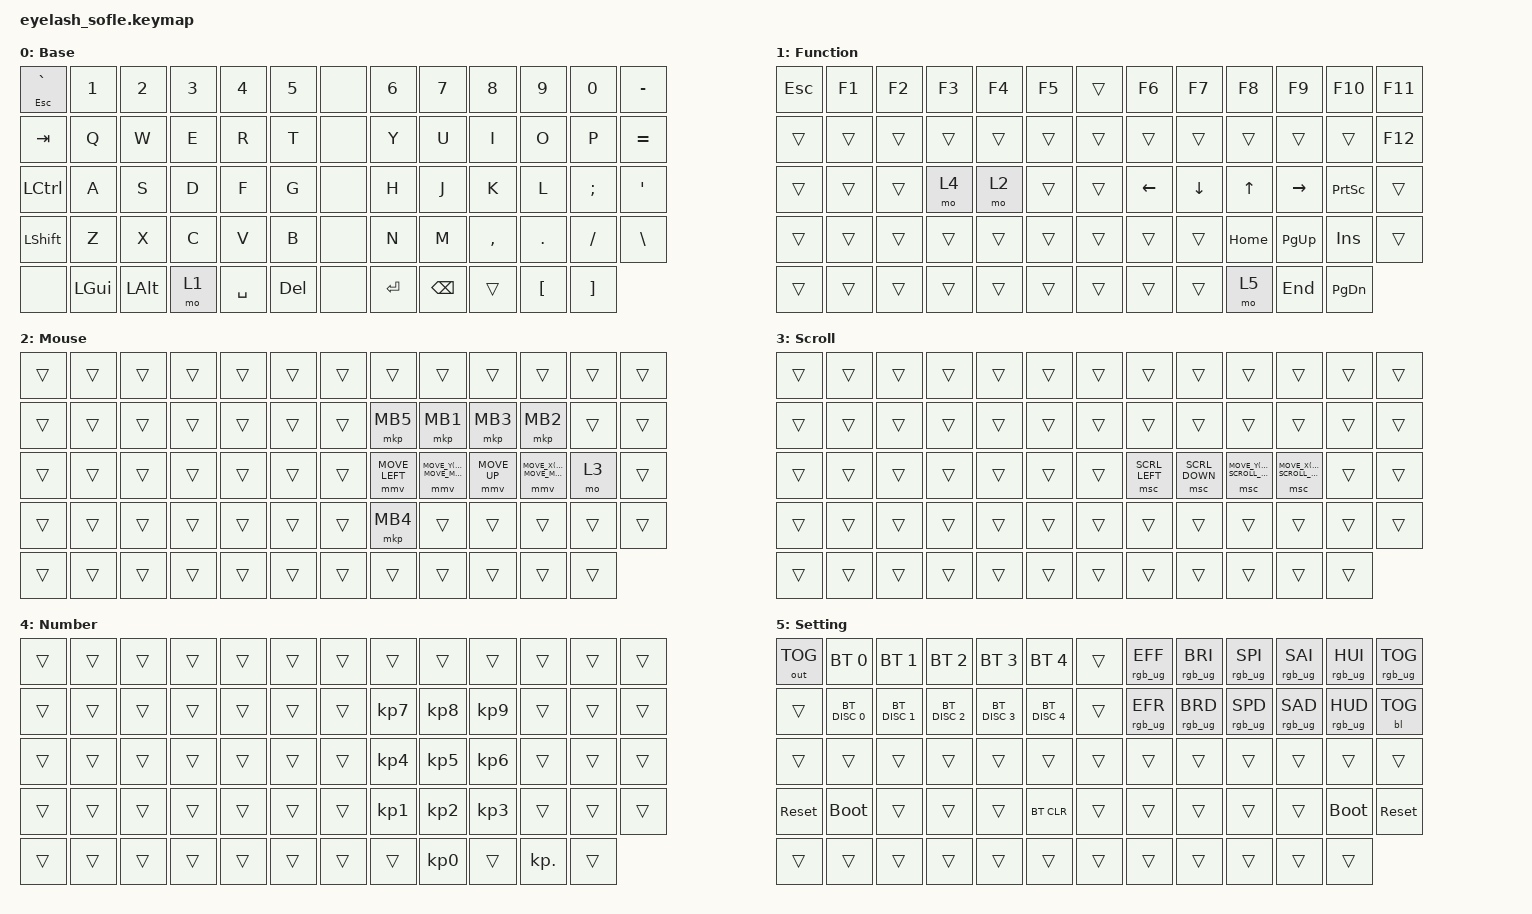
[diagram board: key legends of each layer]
#define ZMK_POINTING_DEFAULT_MOVE_VAL 1200  // 600
#define ZMK_POINTING_DEFAULT_SCRL_VAL 25   // 10

#include <input/processors.dtsi>
#include <zephyr/dt-bindings/input/input-event-codes.h>
#include <behaviors.dtsi>
#include <dt-bindings/zmk/backlight.h>
#include <dt-bindings/zmk/bt.h>
#include <dt-bindings/zmk/keys.h>
#include <dt-bindings/zmk/outputs.h>
#include <dt-bindings/zmk/pointing.h>
#include <dt-bindings/zmk/rgb.h>

#define MOUSE_TIME_TO_MAX_SPEED 300
#define U_MOUSE_MOVE_MAX 1200

#undef MOVE_UP
#undef MOVE_DOWN
#undef MOVE_LEFT
#undef MOVE_RIGHT

#define MOVE_UP MOVE_Y(-U_MOUSE_MOVE_MAX)
#define MOVE_DOWN MOVE_Y(U_MOUSE_MOVE_MAX)
#define MOVE_LEFT MOVE_X(-U_MOUSE_MOVE_MAX)
#define MOVE_RIGHT MOVE_X(U_MOUSE_MOVE_MAX)

&mmv_input_listener { input-processors = <&zip_xy_scaler 2 1>; };

&mmv {
    acceleration-exponent = <1>;
    time-to-max-speed-ms = <MOUSE_TIME_TO_MAX_SPEED>;
};

#define U_MOUSE_SCROLL_MAX 30

#undef SCRL_UP
#undef SCRL_DOWN
#undef SCRL_LEFT
#undef SCRL_RIGHT

#define SCRL_UP MOVE_Y(U_MOUSE_SCROLL_MAX)
#define SCRL_DOWN MOVE_Y(-U_MOUSE_SCROLL_MAX)
#define SCRL_LEFT MOVE_X(-U_MOUSE_SCROLL_MAX)
#define SCRL_RIGHT MOVE_X(U_MOUSE_SCROLL_MAX)

&msc_input_listener { input-processors = <&zip_scroll_scaler 2 1>; };

&msc { time-to-max-speed-ms = <MOUSE_TIME_TO_MAX_SPEED>; };

/ {
    scroll_encoder: scroll_encoder {
        compatible = "zmk,behavior-sensor-rotate";
        #sensor-binding-cells = <0>;
        bindings = <&msc SCRL_DOWN>, <&msc SCRL_UP>;

        tap-ms = <100>;
    };

    behaviors {
        hm: homerow-mods {
            compatible = "zmk,behavior-hold-tap";
            label = "homehow-mods";
            #binding-cells = <2>;
            tapping-term-ms = <175>;
            flavor = "tap-preferred";
            quick-tap-ms = <125>;
            global-quick-tap;
            bindings = <&kp>, <&kp>;
        };
    };

    combos { compatible = "zmk,combos"; };

    keymap {
        compatible = "zmk,keymap";

        Base {
            bindings = <
&hm ESCAPE GRAVE  &kp N1        &kp N2        &kp N3  &kp N4     &kp N5        &none  &kp N6     &kp N7         &kp N8     &kp N9            &kp N0             &kp MINUS
&kp TAB           &kp Q         &kp W         &kp E   &kp R      &kp T         &none  &kp Y      &kp U          &kp I      &kp O             &kp P              &kp EQUAL
&kp LEFT_CONTROL  &kp A         &kp S         &kp D   &kp F      &kp G         &none  &kp H      &kp J          &kp K      &kp L             &kp SEMICOLON      &kp APOS
&kp LEFT_SHIFT    &kp Z         &kp X         &kp C   &kp V      &kp B         &none  &kp N      &kp M          &kp COMMA  &kp DOT           &kp FSLH           &kp BACKSLASH
&none             &kp LEFT_GUI  &kp LEFT_ALT  &mo 1   &kp SPACE  &kp DELETE    &none  &kp ENTER  &kp BACKSPACE  &trans     &kp LEFT_BRACKET  &kp RIGHT_BRACKET
            >;

            display-name = "Base";
        };

        Function {
            bindings = <
&kp ESCAPE  &kp F1  &kp F2  &kp F3  &kp F4  &kp F5    &trans  &kp F6    &kp F7    &kp F8    &kp F9       &kp F10          &kp F11
&trans      &trans  &trans  &trans  &trans  &trans    &trans  &trans    &trans    &trans    &trans       &trans           &kp F12
&trans      &trans  &trans  &mo 4   &mo 2   &trans    &trans  &kp LEFT  &kp DOWN  &kp UP    &kp RIGHT    &kp PRINTSCREEN  &trans
&trans      &trans  &trans  &trans  &trans  &trans    &trans  &trans    &trans    &kp HOME  &kp PAGE_UP  &kp INSERT       &trans
&trans      &trans  &trans  &trans  &trans  &trans    &trans  &trans    &trans    &mo 5     &kp END      &kp PAGE_DOWN
            >;

            display-name = "Function";
        };

        Mouse {
            bindings = <
&trans  &trans  &trans  &trans  &trans  &trans    &trans  &trans          &trans          &trans        &trans           &trans  &trans
&trans  &trans  &trans  &trans  &trans  &trans    &trans  &mkp MB5        &mkp MB1        &mkp MB3      &mkp MB2         &trans  &trans
&trans  &trans  &trans  &trans  &trans  &trans    &trans  &mmv MOVE_LEFT  &mmv MOVE_DOWN  &mmv MOVE_UP  &mmv MOVE_RIGHT  &mo 3   &trans
&trans  &trans  &trans  &trans  &trans  &trans    &trans  &mkp MB4        &trans          &trans        &trans           &trans  &trans
&trans  &trans  &trans  &trans  &trans  &trans    &trans  &trans          &trans          &trans        &trans           &trans
            >;

            label = "Mouse";
        };

        Scroll {
            bindings = <
&trans  &trans  &trans  &trans  &trans  &trans    &trans  &trans          &trans          &trans        &trans           &trans  &trans
&trans  &trans  &trans  &trans  &trans  &trans    &trans  &trans          &trans          &trans        &trans           &trans  &trans
&trans  &trans  &trans  &trans  &trans  &trans    &trans  &msc SCRL_LEFT  &msc SCRL_DOWN  &msc SCRL_UP  &msc SCRL_RIGHT  &trans  &trans
&trans  &trans  &trans  &trans  &trans  &trans    &trans  &trans          &trans          &trans        &trans           &trans  &trans
&trans  &trans  &trans  &trans  &trans  &trans    &trans  &trans          &trans          &trans        &trans           &trans
            >;

            label = "Scroll";
        };

        Number {
            bindings = <
&trans  &trans  &trans  &trans  &trans  &trans    &trans  &trans           &trans           &trans           &trans      &trans  &trans
&trans  &trans  &trans  &trans  &trans  &trans    &trans  &kp KP_NUMBER_7  &kp KP_NUMBER_8  &kp KP_NUMBER_9  &trans      &trans  &trans
&trans  &trans  &trans  &trans  &trans  &trans    &trans  &kp KP_NUMBER_4  &kp KP_NUMBER_5  &kp KP_NUMBER_6  &trans      &trans  &trans
&trans  &trans  &trans  &trans  &trans  &trans    &trans  &kp KP_NUMBER_1  &kp KP_NUMBER_2  &kp KP_NUMBER_3  &trans      &trans  &trans
&trans  &trans  &trans  &trans  &trans  &trans    &trans  &trans           &kp KP_NUMBER_0  &trans           &kp KP_DOT  &trans
            >;

            display-name = "Number";
        };

        Setting {
            bindings = <
&out OUT_TOG  &bt BT_SEL 0   &bt BT_SEL 1   &bt BT_SEL 2   &bt BT_SEL 3   &bt BT_SEL 4     &trans  &rgb_ug RGB_EFF  &rgb_ug RGB_BRI  &rgb_ug RGB_SPI  &rgb_ug RGB_SAI  &rgb_ug RGB_HUI  &rgb_ug RGB_TOG
&trans        &bt BT_DISC 0  &bt BT_DISC 1  &bt BT_DISC 2  &bt BT_DISC 3  &bt BT_DISC 4    &trans  &rgb_ug RGB_EFR  &rgb_ug RGB_BRD  &rgb_ug RGB_SPD  &rgb_ug RGB_SAD  &rgb_ug RGB_HUD  &bl BL_TOG
&trans        &trans         &trans         &trans         &trans         &trans           &trans  &trans           &trans           &trans           &trans           &trans           &trans
&sys_reset    &bootloader    &trans         &trans         &trans         &bt BT_CLR       &trans  &trans           &trans           &trans           &trans           &bootloader      &sys_reset
&trans        &trans         &trans         &trans         &trans         &trans           &trans  &trans           &trans           &trans           &trans           &trans
            >;

            display-name = "Setting";
        };
    };
};
